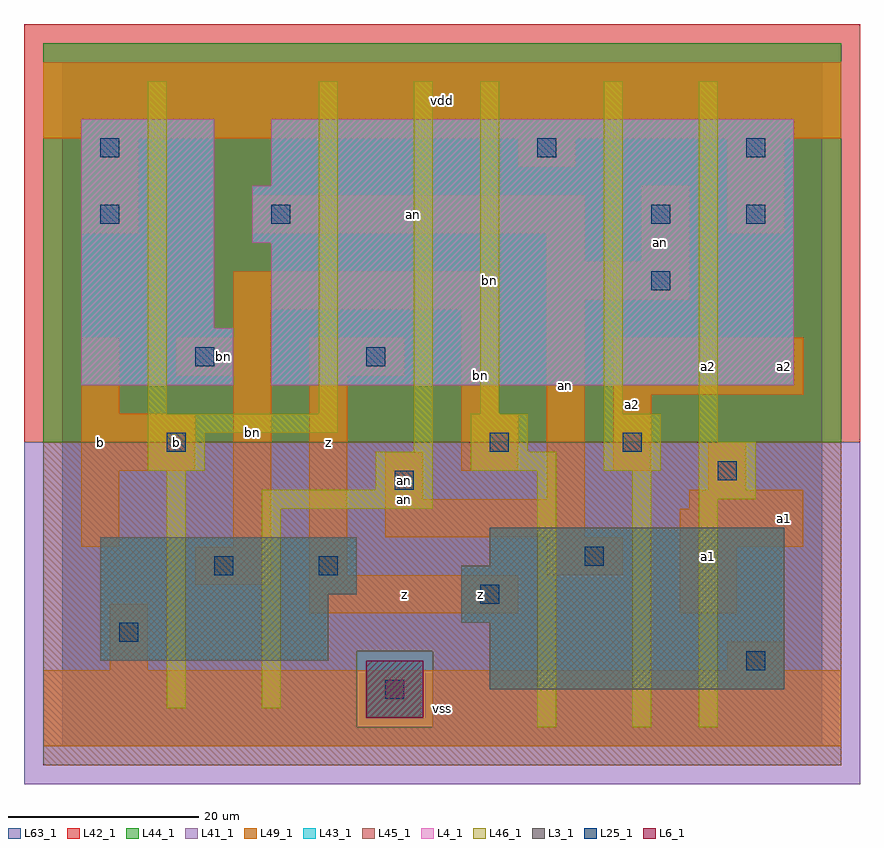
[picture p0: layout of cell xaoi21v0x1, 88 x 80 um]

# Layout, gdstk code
import gdstk
lib = gdstk.Library(unit=1e-6, precision=1e-09)
def R(c, l, rs):  # rectangles x0, y0, x1, y1
    for r in rs: c.add(gdstk.rectangle(r[:2], r[2:], *l))
L3_1 = (3, 1)
L4_1 = (4, 1)
L6_1 = (6, 1)
L25_1 = (25, 1)
L41_1 = (41, 1)
L42_1 = (42, 1)
L43_1 = (43, 1)
L44_1 = (44, 1)
L45_1 = (45, 1)
L46_1 = (46, 1)
L49_1 = (49, 1)
L63_1 = (63, 1)

xaoi21v0x1 = lib.new_cell('xaoi21v0x1')
R(xaoi21v0x1, L3_1, [(45,6,76,13), (4,9,28,16), (42,13,76,19), (4,16,31,22), (45,19,76,23)])
R(xaoi21v0x1, L4_1, [(2,38,18,44), (22,38,77,53), (2,44,16,66), (20,53,77,59), (22,59,77,66)])
R(xaoi21v0x1, L6_1, [(32,3,38,9), (32,3,38,9)])
R(xaoi21v0x1, L25_1, [(34,5,36,7), (72,8,74,10), (6,11,8,13), (44,15,46,17), (16,18,18,20), (27,18,29,20), (55,19,57,21), (35,27,37,29), (69,28,71,30), (11,31,13,33), (45,31,47,33), (59,31,61,33), (14,40,16,42), (32,40,34,42), (62,48,64,50), (4,55,6,57), (22,55,24,57), (62,55,64,57), (72,55,74,57), (4,62,6,64), (50,62,52,64), (72,62,74,64)])
R(xaoi21v0x1, L41_1, [(-4,-4,84,32)])
R(xaoi21v0x1, L42_1, [(-4,32,84,76)])
R(xaoi21v0x1, L43_1, [(32,3,38,9), (45,6,76,13), (4,9,28,16), (42,13,76,19), (4,16,31,22), (45,19,76,23), (2,38,18,44), (22,38,77,53), (2,44,16,66), (20,53,77,59), (22,59,77,66)])
R(xaoi21v0x1, L44_1, [(31,2,39,10), (-2,32,82,74)])
R(xaoi21v0x1, L45_1, [(-2,-2,82,2), (-2,2,31,10), (39,2,82,10), (-2,10,82,32)])
R(xaoi21v0x1, L46_1, [(50,2,52,29), (60,2,62,29), (67,2,69,26), (11,4,13,29), (21,4,23,25), (21,25,39,27), (67,26,73,32), (33,27,39,31), (9,29,15,33), (43,29,52,31), (57,29,63,35), (37,31,39,70), (43,31,49,35), (67,32,69,70), (9,33,29,35), (9,35,11,70), (27,35,29,70), (44,35,46,70), (57,35,59,70)])
R(xaoi21v0x1, L49_1, [(-2,0,82,8), (5,8,9,15), (70,8,76,11), (26,14,48,18), (65,14,71,21), (14,17,22,21), (26,18,30,39), (51,18,59,22), (2,21,6,29), (18,21,22,39), (65,21,78,25), (34,22,55,26), (66,25,78,27), (34,26,38,31), (51,26,55,47), (68,27,72,32), (2,29,14,35), (42,29,48,35), (58,29,62,37), (2,35,6,43), (42,35,46,46), (58,37,78,43), (12,39,22,43), (26,39,36,43), (18,43,22,46), (18,46,46,50), (51,47,66,51), (51,51,55,54), (61,51,66,59), (2,54,8,64), (20,54,55,58), (70,54,76,64), (48,61,54,64), (-2,64,82,72)])
R(xaoi21v0x1, L63_1, [(0,0,80,72)])
xaoi21v0x1.add(gdstk.Label('an', (36,28), layer=49, texttype=1))
xaoi21v0x1.add(gdstk.Label('bn', (45,49), layer=46, texttype=1))
xaoi21v0x1.add(gdstk.Label('b', (4,32), layer=49, texttype=1))
xaoi21v0x1.add(gdstk.Label('b', (12,32), layer=49, texttype=1))
xaoi21v0x1.add(gdstk.Label('z', (36,16), layer=49, texttype=1))
xaoi21v0x1.add(gdstk.Label('an', (36,26), layer=49, texttype=1))
xaoi21v0x1.add(gdstk.Label('z', (28,32), layer=49, texttype=1))
xaoi21v0x1.add(gdstk.Label('bn', (20,33), layer=49, texttype=1))
xaoi21v0x1.add(gdstk.Label('bn', (17,41), layer=49, texttype=1))
xaoi21v0x1.add(gdstk.Label('vss', (40,4), layer=49, texttype=1))
xaoi21v0x1.add(gdstk.Label('z', (44,16), layer=49, texttype=1))
xaoi21v0x1.add(gdstk.Label('bn', (44,39), layer=49, texttype=1))
xaoi21v0x1.add(gdstk.Label('an', (37,56), layer=49, texttype=1))
xaoi21v0x1.add(gdstk.Label('an', (53,38), layer=49, texttype=1))
xaoi21v0x1.add(gdstk.Label('vdd', (40,68), layer=49, texttype=1))
xaoi21v0x1.add(gdstk.Label('a1', (68,20), layer=49, texttype=1))
xaoi21v0x1.add(gdstk.Label('a1', (76,24), layer=49, texttype=1))
xaoi21v0x1.add(gdstk.Label('a2', (68,40), layer=49, texttype=1))
xaoi21v0x1.add(gdstk.Label('a2', (76,40), layer=49, texttype=1))
xaoi21v0x1.add(gdstk.Label('a2', (60,36), layer=49, texttype=1))
xaoi21v0x1.add(gdstk.Label('an', (63,53), layer=49, texttype=1))

lib.write_gds('xaoi21v0x1.gds')
